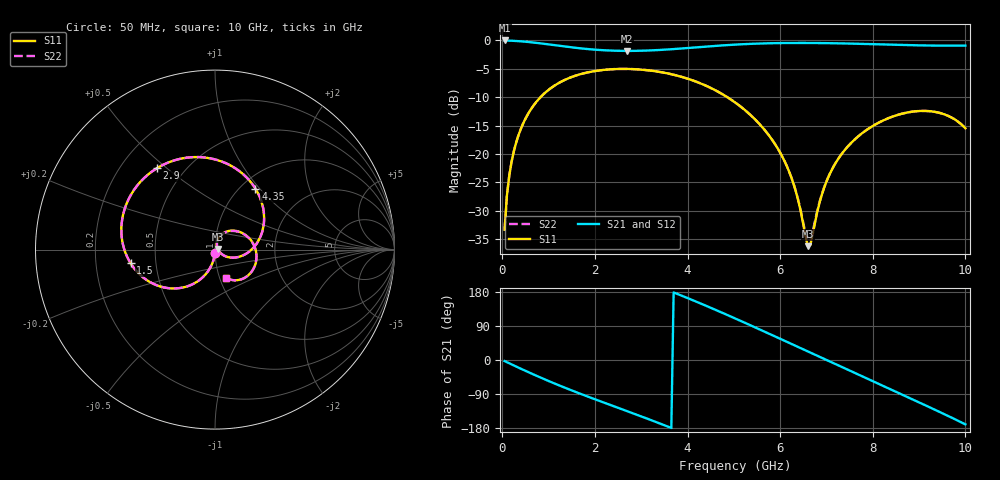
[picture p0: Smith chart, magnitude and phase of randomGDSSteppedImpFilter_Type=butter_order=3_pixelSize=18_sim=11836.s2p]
! freq	dB(S11)	phase(S11)	dB(S12)	phase(S12)
!  dB(S21)	phase(S21)	dB(S22)	phase(S22)
!S-par simulation data
#  GHz  S  DB  R 50
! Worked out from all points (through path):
!   200 points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, 50 MHz to 10 GHz, reference 50 ohm
!   highest |S21| = -0.01 dB at 50 MHz (marker M1); lowest = -1.8 dB at 2.7 GHz (marker M2)
!   group delay of S21, straight-line fit = 145 ps
!   lowest |S11| = -36.2 dB at 6.6 GHz (marker M3), VSWR 1.03, Z = 51.5 + j0.308 ohm
!   |S11| at or under -10 dB: start of sweep to 825.4 MHz; 4.86 GHz to end of sweep
!   |S22| runs from -35.5 to -5.0 dB; largest |S21 - S12| = 0
!   S11 on the Smith chart (normalised r, x): 50 MHz: 1.00, -0.04; 1.5 GHz: 0.36, -0.07; 2.9 GHz: 0.35, +0.46; 4.35 GHz: 1.17, +0.95; 10 GHz: 1.08, -0.35
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0.05  -33.34 -92.9  -0.01 -2.9  -0.01 -2.9  -33.34 -92.9
0.1  -27.33 -96.0  -0.02 -5.8  -0.02 -5.8  -27.33 -96.0
0.2  -21.39 -102.1  -0.05 -11.6  -0.05 -11.6  -21.39 -102.1
0.45  -14.64 -116.3  -0.19 -25.8  -0.19 -25.8  -14.64 -116.3
0.95  -9.03 -143.3  -0.65 -52.9  -0.65 -52.9  -9.03 -143.4
1.5  -6.44 -170.8  -1.23 -80.3  -1.23 -80.3  -6.44 -170.9
1.75  -5.81 177.4  -1.45 -92.1  -1.45 -92.1  -5.81 177.3
2.7  -5.02 134.4  -1.85 -135.2  -1.85 -135.2  -5.02 134.3
2.9  -5.08 125.4  -1.83 -144.2  -1.83 -144.2  -5.08 125.3
3.4  -5.55 102.5  -1.68 -167.4  -1.68 -167.4  -5.55 102.4
4.35  -7.80 56.4  -1.12 145.7  -1.12 145.7  -7.80 56.2
5.05  -11.06 20.5  -0.73 108.5  -0.73 108.5  -11.06 20.3
5.55  -14.69 -5.0  -0.55 81.1  -0.55 81.1  -14.69 -5.2
6.05  -20.54 -27.9  -0.46 53.3  -0.46 53.3  -20.52 -27.7
6.35  -26.93 -34.1  -0.44 36.5  -0.44 36.5  -26.86 -33.1
6.6  -36.24 11.2  -0.45 22.6  -0.45 22.6  -35.54 11.7
6.7  -34.33 55.7  -0.45 17.0  -0.45 17.0  -33.83 52.9
6.95  -25.95 76.4  -0.47 3.0  -0.47 3.0  -25.86 74.3
7.25  -20.92 67.7  -0.51 -13.8  -0.51 -13.8  -20.89 66.2
8.35  -13.65 14.3  -0.74 -75.3  -0.74 -75.3  -13.65 13.4
9.1  -12.41 -24.2  -0.89 -117.5  -0.89 -117.5  -12.41 -24.8
10  -15.47 -68.3  -0.91 -169.8  -0.91 -169.8  -15.46 -68.2
